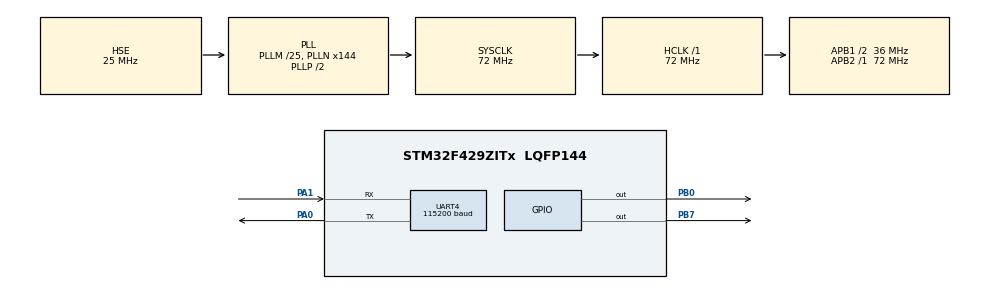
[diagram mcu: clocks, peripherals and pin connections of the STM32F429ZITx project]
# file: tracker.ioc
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Mcu.Family=STM32F4
Mcu.Name=STM32F429ZITx
Mcu.Package=LQFP144
NVIC.PriorityGroup=NVIC_PRIORITYGROUP_4
NVIC.TIM2_IRQn=true\:0\:0\:false\:false\:true\:true\:true
NVIC.UART4_IRQn=true\:0\:0\:false\:false\:true\:true\:true
PA0/WKUP.Mode=Asynchronous
PA0/WKUP.Signal=UART4_TX
PA1.Mode=Asynchronous
PA1.Signal=UART4_RX
PB0.Signal=GPIO_Output
PB7.GPIO_ModeDefaultOutputPP=GPIO_MODE_OUTPUT_PP
PB7.GPIO_PuPd=GPIO_PULLDOWN
PB7.PinState=GPIO_PIN_RESET
PB7.Signal=GPIO_Output
PH0/OSC_IN.Mode=HSE-External-Oscillator
PH0/OSC_IN.Signal=RCC_OSC_IN
PH1/OSC_OUT.Mode=HSE-External-Oscillator
PH1/OSC_OUT.Signal=RCC_OSC_OUT
ProjectManager.HeapSize=0x200
ProjectManager.StackSize=0x400
ProjectManager.TargetToolchain=MDK-ARM V5
RCC.48MHZClocksFreq_Value=36000000
RCC.AHBFreq_Value=72000000
RCC.APB1CLKDivider=RCC_HCLK_DIV2
RCC.APB1Freq_Value=36000000
RCC.APB1TimFreq_Value=72000000
RCC.APB2Freq_Value=72000000
RCC.APB2TimFreq_Value=72000000
RCC.CortexFreq_Value=72000000
RCC.HCLKFreq_Value=72000000
RCC.HSE_VALUE=25000000
RCC.HSI_VALUE=16000000
RCC.LSE_VALUE=32768
RCC.PLLM=25
RCC.PLLN=144
RCC.PLLSourceVirtual=RCC_PLLSOURCE_HSE
RCC.SYSCLKFreq_VALUE=72000000
RCC.SYSCLKSource=RCC_SYSCLKSOURCE_PLLCLK
RCC.VCOOutputFreq_Value=144000000
TIM2.Period=4000
TIM2.Prescaler=35999
TIM2.TIM_MasterOutputTrigger=TIM_TRGO_UPDATE
UART4.BaudRate=115200
UART4.VirtualMode=Asynchronous
VP_TIM2_VS_ClockSourceINT.Mode=Internal
board=custom

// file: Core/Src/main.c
/* USER CODE BEGIN Header */
/**
  ******************************************************************************
  * @file           : main.c
  * @brief          : Main program body
  ******************************************************************************
  * @attention
  *
  * <h2><center>&copy; Copyright (c) 2023 STMicroelectronics.
  * All rights reserved.</center></h2>
  *
  * This software component is licensed by ST under BSD 3-Clause license,
  * the "License"; You may not use this file except in compliance with the
  * License. You may obtain a copy of the License at:
  *                        opensource.org/licenses/BSD-3-Clause
  *
  ******************************************************************************
  */
/* USER CODE END Header */
#include "main.h"

/* USER CODE BEGIN Includes */
#include <string.h>
/* USER CODE END Includes */

/* USER CODE BEGIN PTD */
uint8_t buff[16] = {0,};

/* USER CODE END PTD */

TIM_HandleTypeDef htim2;

UART_HandleTypeDef huart4;

/* USER CODE BEGIN PV */
char str1[60]={0};
uint8_t c = 1;
/* USER CODE END PV */

void SystemClock_Config(void);
static void MX_GPIO_Init(void);
static void MX_UART4_Init(void);
static void MX_TIM2_Init(void);

/* USER CODE BEGIN 0 */
void string_parse(char* buf_str)

{

  HAL_UART_Transmit(&huart4,(uint8_t*)buf_str,strlen(buf_str),0x1000);

  HAL_GPIO_TogglePin(GPIOB, GPIO_PIN_7);

}

typedef struct USART_prop{

  uint8_t usart_buf[60];

  uint8_t usart_cnt;

  uint8_t is_tcp_connect;//?????? ??????? ??????? ?????????? TCP ? ????????

  uint8_t is_text;//?????? ??????? ???????? ????? ???????

} USART_prop_ptr;

USART_prop_ptr usartprop;

uint8_t i=0;

char *str2[] =

{

  "String1\r\n",

  "String2\r\n",

  "String3\r\n",

  "String4\r\n",

  "String5\r\n"

};
void UART2_RxCpltCallback(void)

{

  uint8_t b;

  b = str1[0];

  //???? ????? ???????? ???????? ????? ??????

  if (usartprop.usart_cnt>59)

  {

    usartprop.usart_cnt=0;

    HAL_UART_Receive_IT(&huart4,(uint8_t*)str1,1);

    return;

  }

  usartprop.usart_buf[usartprop.usart_cnt] = b;

  if(b==0x0A)

  {

    usartprop.usart_buf[usartprop.usart_cnt+1]=0;

    string_parse((char*)usartprop.usart_buf);

    usartprop.usart_cnt=0;

    HAL_UART_Receive_IT(&huart4,(uint8_t*)str1,1);

    return;

  }

  usartprop.usart_cnt++;

  HAL_UART_Receive_IT(&huart4,(uint8_t*)str1,1);

}
/* USER CODE END 0 */

int main(void)
{

  /* MCU Configuration--------------------------------------------------------*/

  /* Reset of all peripherals, Initializes the Flash interface and the Systick. */
  HAL_Init();

  /* Configure the system clock */
  SystemClock_Config();

  /* Initialize all configured peripherals */
  MX_GPIO_Init();
  MX_UART4_Init();
  MX_TIM2_Init();
  /* USER CODE BEGIN 2 */
	HAL_UART_Receive_IT(&huart4,(uint8_t*)str1,1);

	HAL_TIM_Base_Start_IT(&htim2);

  /* USER CODE END 2 */

  /* Infinite loop */
  while (1)
  {

  }
}

void SystemClock_Config(void)
{
  RCC_OscInitTypeDef RCC_OscInitStruct = {0};
  RCC_ClkInitTypeDef RCC_ClkInitStruct = {0};

  /** Configure the main internal regulator output voltage
  */
  __HAL_RCC_PWR_CLK_ENABLE();
  __HAL_PWR_VOLTAGESCALING_CONFIG(PWR_REGULATOR_VOLTAGE_SCALE3);
  /** Initializes the RCC Oscillators according to the specified parameters
  * in the RCC_OscInitTypeDef structure.
  */
  RCC_OscInitStruct.OscillatorType = RCC_OSCILLATORTYPE_HSE;
  RCC_OscInitStruct.HSEState = RCC_HSE_ON;
  RCC_OscInitStruct.PLL.PLLState = RCC_PLL_ON;
  RCC_OscInitStruct.PLL.PLLSource = RCC_PLLSOURCE_HSE;
  RCC_OscInitStruct.PLL.PLLM = 25;
  RCC_OscInitStruct.PLL.PLLN = 144;
  RCC_OscInitStruct.PLL.PLLP = RCC_PLLP_DIV2;
  RCC_OscInitStruct.PLL.PLLQ = 4;
  if (HAL_RCC_OscConfig(&RCC_OscInitStruct) != HAL_OK)
  {
    Error_Handler();
  }
  /** Initializes the CPU, AHB and APB buses clocks
  */
  RCC_ClkInitStruct.ClockType = RCC_CLOCKTYPE_HCLK|RCC_CLOCKTYPE_SYSCLK
                              |RCC_CLOCKTYPE_PCLK1|RCC_CLOCKTYPE_PCLK2;
  RCC_ClkInitStruct.SYSCLKSource = RCC_SYSCLKSOURCE_PLLCLK;
  RCC_ClkInitStruct.AHBCLKDivider = RCC_SYSCLK_DIV1;
  RCC_ClkInitStruct.APB1CLKDivider = RCC_HCLK_DIV2;
  RCC_ClkInitStruct.APB2CLKDivider = RCC_HCLK_DIV1;

  if (HAL_RCC_ClockConfig(&RCC_ClkInitStruct, FLASH_LATENCY_2) != HAL_OK)
  {
    Error_Handler();
  }
}

static void MX_TIM2_Init(void)
{

  TIM_ClockConfigTypeDef sClockSourceConfig = {0};
  TIM_MasterConfigTypeDef sMasterConfig = {0};

  htim2.Instance = TIM2;
  htim2.Init.Prescaler = 35999;
  htim2.Init.CounterMode = TIM_COUNTERMODE_UP;
  htim2.Init.Period = 4000;
  htim2.Init.ClockDivision = TIM_CLOCKDIVISION_DIV1;
  htim2.Init.AutoReloadPreload = TIM_AUTORELOAD_PRELOAD_DISABLE;
  if (HAL_TIM_Base_Init(&htim2) != HAL_OK)
  {
    Error_Handler();
  }
  sClockSourceConfig.ClockSource = TIM_CLOCKSOURCE_INTERNAL;
  if (HAL_TIM_ConfigClockSource(&htim2, &sClockSourceConfig) != HAL_OK)
  {
    Error_Handler();
  }
  sMasterConfig.MasterOutputTrigger = TIM_TRGO_UPDATE;
  sMasterConfig.MasterSlaveMode = TIM_MASTERSLAVEMODE_DISABLE;
  if (HAL_TIMEx_MasterConfigSynchronization(&htim2, &sMasterConfig) != HAL_OK)
  {
    Error_Handler();
  }

}

static void MX_UART4_Init(void)
{

  huart4.Instance = UART4;
  huart4.Init.BaudRate = 115200;
  huart4.Init.WordLength = UART_WORDLENGTH_8B;
  huart4.Init.StopBits = UART_STOPBITS_1;
  huart4.Init.Parity = UART_PARITY_NONE;
  huart4.Init.Mode = UART_MODE_TX_RX;
  huart4.Init.HwFlowCtl = UART_HWCONTROL_NONE;
  huart4.Init.OverSampling = UART_OVERSAMPLING_16;
  if (HAL_UART_Init(&huart4) != HAL_OK)
  {
    Error_Handler();
  }

}

static void MX_GPIO_Init(void)
{
  GPIO_InitTypeDef GPIO_InitStruct = {0};

  /* GPIO Ports Clock Enable */
  __HAL_RCC_GPIOH_CLK_ENABLE();
  __HAL_RCC_GPIOA_CLK_ENABLE();
  __HAL_RCC_GPIOB_CLK_ENABLE();

  /*Configure GPIO pin Output Level */
  HAL_GPIO_WritePin(GPIOB, GPIO_PIN_0|GPIO_PIN_7, GPIO_PIN_RESET);

  /*Configure GPIO pin : PB0 */
  GPIO_InitStruct.Pin = GPIO_PIN_0;
  GPIO_InitStruct.Mode = GPIO_MODE_OUTPUT_PP;
  GPIO_InitStruct.Pull = GPIO_NOPULL;
  GPIO_InitStruct.Speed = GPIO_SPEED_FREQ_LOW;
  HAL_GPIO_Init(GPIOB, &GPIO_InitStruct);

  /*Configure GPIO pin : PB7 */
  GPIO_InitStruct.Pin = GPIO_PIN_7;
  GPIO_InitStruct.Mode = GPIO_MODE_OUTPUT_PP;
  GPIO_InitStruct.Pull = GPIO_PULLDOWN;
  GPIO_InitStruct.Speed = GPIO_SPEED_FREQ_LOW;
  HAL_GPIO_Init(GPIOB, &GPIO_InitStruct);

}

/* USER CODE BEGIN 4 */
void HAL_UART_RxCpltCallback(UART_HandleTypeDef *huart)

{

  if(huart==&huart4)

  {

    UART2_RxCpltCallback();

  }

}
/* USER CODE END 4 */

void Error_Handler(void)
{
  __disable_irq();
  while (1)
  {
  }
}

/************************ (C) COPYRIGHT STMicroelectronics *****END OF FILE****/
